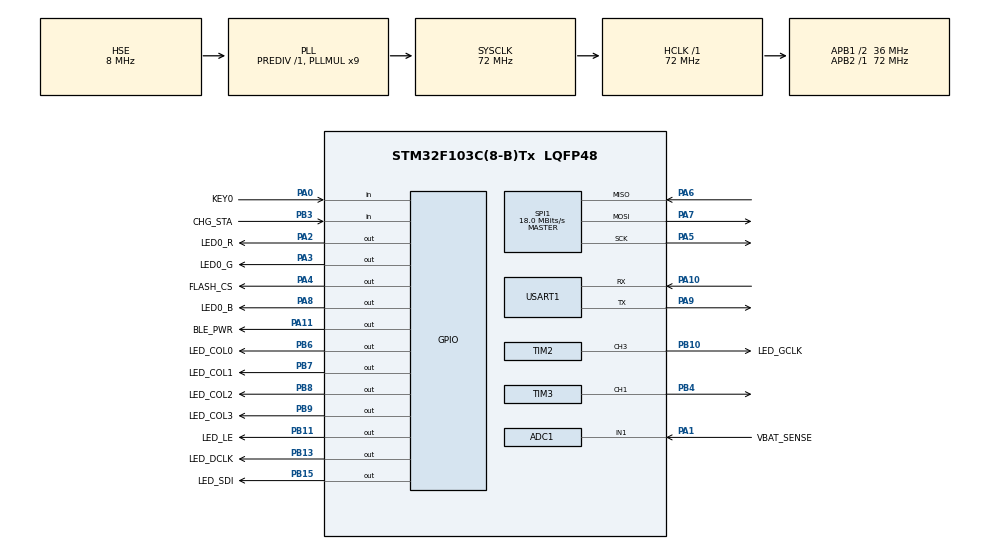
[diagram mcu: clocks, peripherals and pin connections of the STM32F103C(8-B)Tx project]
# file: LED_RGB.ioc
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ADC1.Channel-0\#ChannelRegularConversion=ADC_CHANNEL_1
ADC1.NbrOfConversionFlag=1
ADC1.Rank-0\#ChannelRegularConversion=1
ADC1.SamplingTime-0\#ChannelRegularConversion=ADC_SAMPLETIME_1CYCLE_5
ADC1.master=1
Mcu.Family=STM32F1
Mcu.Name=STM32F103C(8-B)Tx
Mcu.Package=LQFP48
NVIC.PriorityGroup=NVIC_PRIORITYGROUP_4
NVIC.USART1_IRQn=true\:4\:0\:true\:false\:true
PA0-WKUP.GPIO_Label=KEY0
PA0-WKUP.Signal=GPIO_Input
PA1.GPIO_Label=VBAT_SENSE
PA1.Signal=ADCx_IN1
PA10.Mode=Asynchronous
PA10.Signal=USART1_RX
PA11.GPIO_Label=BLE_PWR
PA11.Signal=GPIO_Output
PA13.Mode=Serial_Wire
PA13.Signal=SYS_JTMS-SWDIO
PA14.Mode=Serial_Wire
PA14.Signal=SYS_JTCK-SWCLK
PA2.GPIO_Label=LED0_R
PA2.Signal=GPIO_Output
PA3.GPIO_Label=LED0_G
PA3.Signal=GPIO_Output
PA4.GPIO_Label=FLASH_CS
PA4.PinState=GPIO_PIN_SET
PA4.Signal=GPIO_Output
PA5.Mode=Full_Duplex_Master
PA5.Signal=SPI1_SCK
PA6.Mode=Full_Duplex_Master
PA6.Signal=SPI1_MISO
PA7.Mode=Full_Duplex_Master
PA7.Signal=SPI1_MOSI
PA8.GPIO_Label=LED0_B
PA8.Signal=GPIO_Output
PA9.Mode=Asynchronous
PA9.Signal=USART1_TX
PB10.GPIO_Label=LED_GCLK
PB10.GPIO_Speed=GPIO_SPEED_FREQ_HIGH
PB10.Signal=S_TIM2_CH3
PB11.GPIO_Label=LED_LE
PB11.GPIO_Speed=GPIO_SPEED_FREQ_HIGH
PB11.Signal=GPIO_Output
PB13.GPIO_Label=LED_DCLK
PB13.GPIO_Speed=GPIO_SPEED_FREQ_HIGH
PB13.Signal=GPIO_Output
PB15.GPIO_Label=LED_SDI
PB15.GPIO_Speed=GPIO_SPEED_FREQ_HIGH
PB15.PinState=GPIO_PIN_RESET
PB15.Signal=GPIO_Output
PB3.GPIO_Label=CHG_STA
PB3.Signal=GPIO_Input
PB4.Signal=S_TIM3_CH1
PB6.GPIO_Label=LED_COL0
PB6.GPIO_Speed=GPIO_SPEED_FREQ_HIGH
PB6.Signal=GPIO_Output
PB7.GPIO_Label=LED_COL1
PB7.GPIO_Speed=GPIO_SPEED_FREQ_HIGH
PB7.Signal=GPIO_Output
PB8.GPIO_Label=LED_COL2
PB8.GPIO_Speed=GPIO_SPEED_FREQ_HIGH
PB8.Signal=GPIO_Output
PB9.GPIO_Label=LED_COL3
PB9.Signal=GPIO_Output
PD0-OSC_IN.Mode=HSE-External-Oscillator
PD0-OSC_IN.Signal=RCC_OSC_IN
PD1-OSC_OUT.Mode=HSE-External-Oscillator
PD1-OSC_OUT.Signal=RCC_OSC_OUT
ProjectManager.HeapSize=0x200
ProjectManager.StackSize=0x400
ProjectManager.TargetToolchain=MDK-ARM V5
RCC.ADCPresc=RCC_ADCPCLK2_DIV6
RCC.AHBFreq_Value=72000000
RCC.APB1CLKDivider=RCC_HCLK_DIV2
RCC.APB1Freq_Value=36000000
RCC.APB1TimFreq_Value=72000000
RCC.APB2Freq_Value=72000000
RCC.APB2TimFreq_Value=72000000
RCC.HCLKFreq_Value=72000000
RCC.HSIState=RCC_HSI_ON
RCC.PLLMUL=RCC_PLL_MUL9
RCC.PLLSourceVirtual=RCC_PLLSOURCE_HSE
RCC.SYSCLKFreq_VALUE=72000000
RCC.SYSCLKSource=RCC_SYSCLKSOURCE_PLLCLK
RCC.USBFreq_Value=72000000
SH.ADCx_IN1.0=ADC1_IN1,IN1
SH.S_TIM2_CH3.0=TIM2_CH3,PWM Generation3 CH3
SH.S_TIM3_CH1.0=TIM3_CH1,PWM Generation1 CH1
SPI1.BaudRatePrescaler=SPI_BAUDRATEPRESCALER_4
SPI1.CalculateBaudRate=18.0 MBits/s
SPI1.Mode=SPI_MODE_MASTER
TIM2.Channel-PWM\ Generation3\ CH3=TIM_CHANNEL_3
TIM2.Period=1000
TIM2.Prescaler=36
TIM2.Pulse-PWM\ Generation3\ CH3=500
TIM3.Period=1000
TIM3.Prescaler=26
TIM3.Pulse-PWM\ Generation1\ CH1=500
VP_TIM2_VS_ClockSourceINT.Mode=Internal
board=LED_RGB

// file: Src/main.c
/**
  ******************************************************************************
  * File Name          : main.c
  * Description        : Main program body
  ******************************************************************************
  *
  * COPYRIGHT(c) 2016 STMicroelectronics
  *
  * Redistribution and use in source and binary forms, with or without modification,
  * are permitted provided that the following conditions are met:
  *   1. Redistributions of source code must retain the above copyright notice,
  *      this list of conditions and the following disclaimer.
  *   2. Redistributions in binary form must reproduce the above copyright notice,
  *      this list of conditions and the following disclaimer in the documentation
  *      and/or other materials provided with the distribution.
  *   3. Neither the name of STMicroelectronics nor the names of its contributors
  *      may be used to endorse or promote products derived from this software
  *      without specific prior written permission.
  *
  * THIS SOFTWARE IS PROVIDED BY THE COPYRIGHT HOLDERS AND CONTRIBUTORS "AS IS"
  * AND ANY EXPRESS OR IMPLIED WARRANTIES, INCLUDING, BUT NOT LIMITED TO, THE
  * IMPLIED WARRANTIES OF MERCHANTABILITY AND FITNESS FOR A PARTICULAR PURPOSE ARE
  * DISCLAIMED. IN NO EVENT SHALL THE COPYRIGHT HOLDER OR CONTRIBUTORS BE LIABLE
  * FOR ANY DIRECT, INDIRECT, INCIDENTAL, SPECIAL, EXEMPLARY, OR CONSEQUENTIAL
  * DAMAGES (INCLUDING, BUT NOT LIMITED TO, PROCUREMENT OF SUBSTITUTE GOODS OR
  * SERVICES; LOSS OF USE, DATA, OR PROFITS; OR BUSINESS INTERRUPTION) HOWEVER
  * CAUSED AND ON ANY THEORY OF LIABILITY, WHETHER IN CONTRACT, STRICT LIABILITY,
  * OR TORT (INCLUDING NEGLIGENCE OR OTHERWISE) ARISING IN ANY WAY OUT OF THE USE
  * OF THIS SOFTWARE, EVEN IF ADVISED OF THE POSSIBILITY OF SUCH DAMAGE.
  *
  ******************************************************************************
  */
#include "stm32f1xx_hal.h"

/* USER CODE BEGIN Includes */
#include "led_rgb_driver.h"
#include "graphics.h"
#include "key.h"
/* USER CODE END Includes */

ADC_HandleTypeDef hadc1;

SPI_HandleTypeDef hspi1;

TIM_HandleTypeDef htim2;
TIM_HandleTypeDef htim3;

UART_HandleTypeDef huart1;

/* USER CODE BEGIN PV */
/* Private variables ---------------------------------------------------------*/
extern unsigned char gImage_cur[1536];
extern unsigned char gImage[][1536];
extern const unsigned char gImage_malio1[1536];
extern const unsigned char gImage_color_bar[1536];
extern const unsigned char gImage_jb_blue[1536];
/* USER CODE END PV */

void SystemClock_Config(void);
void Error_Handler(void);
static void MX_GPIO_Init(void);
static void MX_ADC1_Init(void);
static void MX_SPI1_Init(void);
static void MX_USART1_UART_Init(void);
static void MX_TIM2_Init(void);
static void MX_TIM3_Init(void);

void HAL_TIM_MspPostInit(TIM_HandleTypeDef *htim);

/* USER CODE BEGIN PFP */
/* Private function prototypes -----------------------------------------------*/

/* USER CODE END PFP */

int main(void)
{

  /* USER CODE BEGIN 1 */
	uint8_t row = 0,status = 0;

	int i = 0, j = 0, k = 0;
	int speed_counter = 0, cur_pic = 0, next_pic = 0, frame_counter = 0;
	uint8_t b[16];

	//const value
	const int SPEED = 3;
	const int PIC_NUM = 3;

	uint32_t couter = 0;
  /* USER CODE END 1 */

  /* MCU Configuration----------------------------------------------------------*/

  /* Reset of all peripherals, Initializes the Flash interface and the Systick. */
  HAL_Init();

  /* Configure the system clock */
  SystemClock_Config();

  /* Initialize all configured peripherals */
  MX_GPIO_Init();
  MX_ADC1_Init();
  MX_SPI1_Init();
  MX_USART1_UART_Init();
  MX_TIM2_Init();
  MX_TIM3_Init();

  /* USER CODE BEGIN 2 */

	LED_ON;
	MBI_Gain(0x00);

	while(1)
	{
	    HAL_UART_Receive(&huart1, b, 16, 1000);
	}
	//Beep(5,300);
//	LedRow(13);
//	LedDrawLine();
//	LedCol(buf);
//	LedCol(buf);
//	LedCol(buf);
//	LedCol(buf);
//	LedCol(buf);
//	LedCol(buf);
//	LedCol(buf);
//	HAL_Delay(5000);
//	LED_OFF;
  /* USER CODE END 2 */

  /* Infinite loop */
  /* USER CODE BEGIN WHILE */

	for(i = 1; i < PIC_NUM; i++)
	{
		while(1)
		{
			  speed_counter = (speed_counter + 1)%40;
		    LedDrawBMP_L_TO_R((uint8_t*)gImage[i]);
			  if(speed_counter == 0)
				{
					//break;
				}
		}
	}

  while (1)
  {
		for(i = 0; i < 16; i++) {
			 j = frame_counter;
			 next_pic = cur_pic;
			 for(k = 0; k < 32; k++, j++) {
				 if(j == 32) {
					 next_pic = (cur_pic + 1)%PIC_NUM;
				 }
		     gImage_cur[(i*32+k)*3] = gImage[next_pic][(i*32+j%32)*3];
			   gImage_cur[(i*32+k)*3+1] = gImage[next_pic][(i*32+j%32)*3+1];
				 gImage_cur[(i*32+k)*3+2] = gImage[next_pic][(i*32+j%32)*3+2];
			 }
	  }

		//LedDrawBMP((uint8_t*)gImage_cur);
		LedDrawBMP_L_TO_R((uint8_t*)gImage_cur);

		speed_counter = (speed_counter+1)%SPEED;
		if(speed_counter == 0)
		{
			frame_counter = (frame_counter+1)%32;
			if(frame_counter == 0) {
				cur_pic = (cur_pic + 1)%PIC_NUM;
			}
		}

////		if(row < 16)
////		{
////			row++;
////		}
////		else
////		{
////			row = 0;
////		}
////		LedRow(row);
////
////
////		couter++;
////		if((couter % 10) == 0)
////		{
////			if(b < 4096)
////				b+=1;
////			else
////				b = 0;
////		}
////
////		if(ReadKey() == KEY_PUSH_DOWN)
///		{
////			if(status < 7)
////				status ++;
////			else
////				status = 0;
////		}
////
////		switch(status)
////		{
////			case(0):
//////				b = b;
//////				g = r = 0;
////			b =g=r=0xffff>>;
////				break;
////			case(1):
////				g = row;
////				b = r = 0;
////				break;
////			case(2):
////				r = row;
////				g = b =0;
////				break;
////			case(3):
////				r = g = row;
////				b = 0;
////				break;
////			case(4):
////				g = b = row;
////				r = 0;
////				break;
////			case(5):
////				b = r = row;
////				g = 0;
////				break;
////			case(6):
////				r = g = b = row;
////				break;
////			default:
////				break;
////		}

////		LedDrawLine(r,g,b);
//
//		HAL_Delay(800);
  /* USER CODE END WHILE */

  }

}

/** System Clock Configuration
*/
void SystemClock_Config(void)
{

  RCC_OscInitTypeDef RCC_OscInitStruct;
  RCC_ClkInitTypeDef RCC_ClkInitStruct;
  RCC_PeriphCLKInitTypeDef PeriphClkInit;

  RCC_OscInitStruct.OscillatorType = RCC_OSCILLATORTYPE_HSE;
  RCC_OscInitStruct.HSEState = RCC_HSE_ON;
  RCC_OscInitStruct.HSEPredivValue = RCC_HSE_PREDIV_DIV1;
  RCC_OscInitStruct.PLL.PLLState = RCC_PLL_ON;
  RCC_OscInitStruct.PLL.PLLSource = RCC_PLLSOURCE_HSE;
  RCC_OscInitStruct.PLL.PLLMUL = RCC_PLL_MUL9;
  if (HAL_RCC_OscConfig(&RCC_OscInitStruct) != HAL_OK)
  {
    Error_Handler();
  }

  RCC_ClkInitStruct.ClockType = RCC_CLOCKTYPE_HCLK|RCC_CLOCKTYPE_SYSCLK
                              |RCC_CLOCKTYPE_PCLK1|RCC_CLOCKTYPE_PCLK2;
  RCC_ClkInitStruct.SYSCLKSource = RCC_SYSCLKSOURCE_PLLCLK;
  RCC_ClkInitStruct.AHBCLKDivider = RCC_SYSCLK_DIV1;
  RCC_ClkInitStruct.APB1CLKDivider = RCC_HCLK_DIV2;
  RCC_ClkInitStruct.APB2CLKDivider = RCC_HCLK_DIV1;
  if (HAL_RCC_ClockConfig(&RCC_ClkInitStruct, FLASH_LATENCY_2) != HAL_OK)
  {
    Error_Handler();
  }

  PeriphClkInit.PeriphClockSelection = RCC_PERIPHCLK_ADC;
  PeriphClkInit.AdcClockSelection = RCC_ADCPCLK2_DIV6;
  if (HAL_RCCEx_PeriphCLKConfig(&PeriphClkInit) != HAL_OK)
  {
    Error_Handler();
  }

  HAL_SYSTICK_Config(HAL_RCC_GetHCLKFreq()/1000);

  HAL_SYSTICK_CLKSourceConfig(SYSTICK_CLKSOURCE_HCLK);

  /* SysTick_IRQn interrupt configuration */
  HAL_NVIC_SetPriority(SysTick_IRQn, 0, 0);
}

/* ADC1 init function */
static void MX_ADC1_Init(void)
{

  ADC_ChannelConfTypeDef sConfig;

    /**Common config
    */
  hadc1.Instance = ADC1;
  hadc1.Init.ScanConvMode = ADC_SCAN_DISABLE;
  hadc1.Init.ContinuousConvMode = DISABLE;
  hadc1.Init.DiscontinuousConvMode = DISABLE;
  hadc1.Init.ExternalTrigConv = ADC_SOFTWARE_START;
  hadc1.Init.DataAlign = ADC_DATAALIGN_RIGHT;
  hadc1.Init.NbrOfConversion = 1;
  if (HAL_ADC_Init(&hadc1) != HAL_OK)
  {
    Error_Handler();
  }

    /**Configure Regular Channel
    */
  sConfig.Channel = ADC_CHANNEL_1;
  sConfig.Rank = 1;
  sConfig.SamplingTime = ADC_SAMPLETIME_1CYCLE_5;
  if (HAL_ADC_ConfigChannel(&hadc1, &sConfig) != HAL_OK)
  {
    Error_Handler();
  }

}

/* SPI1 init function */
static void MX_SPI1_Init(void)
{

  hspi1.Instance = SPI1;
  hspi1.Init.Mode = SPI_MODE_MASTER;
  hspi1.Init.Direction = SPI_DIRECTION_2LINES;
  hspi1.Init.DataSize = SPI_DATASIZE_8BIT;
  hspi1.Init.CLKPolarity = SPI_POLARITY_LOW;
  hspi1.Init.CLKPhase = SPI_PHASE_1EDGE;
  hspi1.Init.NSS = SPI_NSS_SOFT;
  hspi1.Init.BaudRatePrescaler = SPI_BAUDRATEPRESCALER_4;
  hspi1.Init.FirstBit = SPI_FIRSTBIT_MSB;
  hspi1.Init.TIMode = SPI_TIMODE_DISABLE;
  hspi1.Init.CRCCalculation = SPI_CRCCALCULATION_DISABLE;
  hspi1.Init.CRCPolynomial = 10;
  if (HAL_SPI_Init(&hspi1) != HAL_OK)
  {
    Error_Handler();
  }

}

/* TIM2 init function */
static void MX_TIM2_Init(void)
{

  TIM_ClockConfigTypeDef sClockSourceConfig;
  TIM_MasterConfigTypeDef sMasterConfig;
  TIM_OC_InitTypeDef sConfigOC;

  htim2.Instance = TIM2;
  htim2.Init.Prescaler = 36;
  htim2.Init.CounterMode = TIM_COUNTERMODE_UP;
  htim2.Init.Period = 1000;
  htim2.Init.ClockDivision = TIM_CLOCKDIVISION_DIV1;
  if (HAL_TIM_Base_Init(&htim2) != HAL_OK)
  {
    Error_Handler();
  }

  sClockSourceConfig.ClockSource = TIM_CLOCKSOURCE_INTERNAL;
  if (HAL_TIM_ConfigClockSource(&htim2, &sClockSourceConfig) != HAL_OK)
  {
    Error_Handler();
  }

  if (HAL_TIM_PWM_Init(&htim2) != HAL_OK)
  {
    Error_Handler();
  }

  sMasterConfig.MasterOutputTrigger = TIM_TRGO_RESET;
  sMasterConfig.MasterSlaveMode = TIM_MASTERSLAVEMODE_DISABLE;
  if (HAL_TIMEx_MasterConfigSynchronization(&htim2, &sMasterConfig) != HAL_OK)
  {
    Error_Handler();
  }

  sConfigOC.OCMode = TIM_OCMODE_PWM1;
  sConfigOC.Pulse = 500;
  sConfigOC.OCPolarity = TIM_OCPOLARITY_HIGH;
  sConfigOC.OCFastMode = TIM_OCFAST_DISABLE;
  if (HAL_TIM_PWM_ConfigChannel(&htim2, &sConfigOC, TIM_CHANNEL_3) != HAL_OK)
  {
    Error_Handler();
  }

  HAL_TIM_MspPostInit(&htim2);

}

/* TIM3 init function */
static void MX_TIM3_Init(void)
{

  TIM_MasterConfigTypeDef sMasterConfig;
  TIM_OC_InitTypeDef sConfigOC;

  htim3.Instance = TIM3;
  htim3.Init.Prescaler = 26;
  htim3.Init.CounterMode = TIM_COUNTERMODE_UP;
  htim3.Init.Period = 1000;
  htim3.Init.ClockDivision = TIM_CLOCKDIVISION_DIV1;
  if (HAL_TIM_PWM_Init(&htim3) != HAL_OK)
  {
    Error_Handler();
  }

  sMasterConfig.MasterOutputTrigger = TIM_TRGO_RESET;
  sMasterConfig.MasterSlaveMode = TIM_MASTERSLAVEMODE_DISABLE;
  if (HAL_TIMEx_MasterConfigSynchronization(&htim3, &sMasterConfig) != HAL_OK)
  {
    Error_Handler();
  }

  sConfigOC.OCMode = TIM_OCMODE_PWM1;
  sConfigOC.Pulse = 500;
  sConfigOC.OCPolarity = TIM_OCPOLARITY_HIGH;
  sConfigOC.OCFastMode = TIM_OCFAST_DISABLE;
  if (HAL_TIM_PWM_ConfigChannel(&htim3, &sConfigOC, TIM_CHANNEL_1) != HAL_OK)
  {
    Error_Handler();
  }

  HAL_TIM_MspPostInit(&htim3);

}

/* USART1 init function */
static void MX_USART1_UART_Init(void)
{

  huart1.Instance = USART1;
  huart1.Init.BaudRate = 115200;
  huart1.Init.WordLength = UART_WORDLENGTH_8B;
  huart1.Init.StopBits = UART_STOPBITS_1;
  huart1.Init.Parity = UART_PARITY_NONE;
  huart1.Init.Mode = UART_MODE_TX_RX;
  huart1.Init.HwFlowCtl = UART_HWCONTROL_NONE;
  huart1.Init.OverSampling = UART_OVERSAMPLING_16;
  if (HAL_UART_Init(&huart1) != HAL_OK)
  {
    Error_Handler();
  }

}

/** Configure pins as
        * Analog
        * Input
        * Output
        * EVENT_OUT
        * EXTI
*/
static void MX_GPIO_Init(void)
{

  GPIO_InitTypeDef GPIO_InitStruct;

  /* GPIO Ports Clock Enable */
  __HAL_RCC_GPIOD_CLK_ENABLE();
  __HAL_RCC_GPIOA_CLK_ENABLE();
  __HAL_RCC_GPIOB_CLK_ENABLE();

  /*Configure GPIO pin : KEY0_Pin */
  GPIO_InitStruct.Pin = KEY0_Pin;
  GPIO_InitStruct.Mode = GPIO_MODE_INPUT;
  GPIO_InitStruct.Pull = GPIO_NOPULL;
  HAL_GPIO_Init(KEY0_GPIO_Port, &GPIO_InitStruct);

  /*Configure GPIO pins : LED0_R_Pin LED0_G_Pin FLASH_CS_Pin LED0_B_Pin
                           BLE_PWR_Pin */
  GPIO_InitStruct.Pin = LED0_R_Pin|LED0_G_Pin|FLASH_CS_Pin|LED0_B_Pin
                          |BLE_PWR_Pin;
  GPIO_InitStruct.Mode = GPIO_MODE_OUTPUT_PP;
  GPIO_InitStruct.Speed = GPIO_SPEED_FREQ_LOW;
  HAL_GPIO_Init(GPIOA, &GPIO_InitStruct);

  /*Configure GPIO pins : LED_LE_Pin LED_DCLK_Pin LED_SDI_Pin LED_COL0_Pin
                           LED_COL1_Pin LED_COL2_Pin */
  GPIO_InitStruct.Pin = LED_LE_Pin|LED_DCLK_Pin|LED_SDI_Pin|LED_COL0_Pin
                          |LED_COL1_Pin|LED_COL2_Pin;
  GPIO_InitStruct.Mode = GPIO_MODE_OUTPUT_PP;
  GPIO_InitStruct.Speed = GPIO_SPEED_FREQ_HIGH;
  HAL_GPIO_Init(GPIOB, &GPIO_InitStruct);

  /*Configure GPIO pin : CHG_STA_Pin */
  GPIO_InitStruct.Pin = CHG_STA_Pin;
  GPIO_InitStruct.Mode = GPIO_MODE_INPUT;
  GPIO_InitStruct.Pull = GPIO_NOPULL;
  HAL_GPIO_Init(CHG_STA_GPIO_Port, &GPIO_InitStruct);

  /*Configure GPIO pin : LED_COL3_Pin */
  GPIO_InitStruct.Pin = LED_COL3_Pin;
  GPIO_InitStruct.Mode = GPIO_MODE_OUTPUT_PP;
  GPIO_InitStruct.Speed = GPIO_SPEED_FREQ_LOW;
  HAL_GPIO_Init(LED_COL3_GPIO_Port, &GPIO_InitStruct);

  /*Configure GPIO pin Output Level */
  HAL_GPIO_WritePin(GPIOA, LED0_R_Pin|LED0_G_Pin|LED0_B_Pin|BLE_PWR_Pin, GPIO_PIN_RESET);

  /*Configure GPIO pin Output Level */
  HAL_GPIO_WritePin(FLASH_CS_GPIO_Port, FLASH_CS_Pin, GPIO_PIN_SET);

  /*Configure GPIO pin Output Level */
  HAL_GPIO_WritePin(GPIOB, LED_LE_Pin|LED_DCLK_Pin|LED_SDI_Pin|LED_COL0_Pin
                          |LED_COL1_Pin|LED_COL2_Pin|LED_COL3_Pin, GPIO_PIN_RESET);

}

void Error_Handler(void)
{
  while(1)
  {
  }
}

/************************ (C) COPYRIGHT STMicroelectronics *****END OF FILE****/
